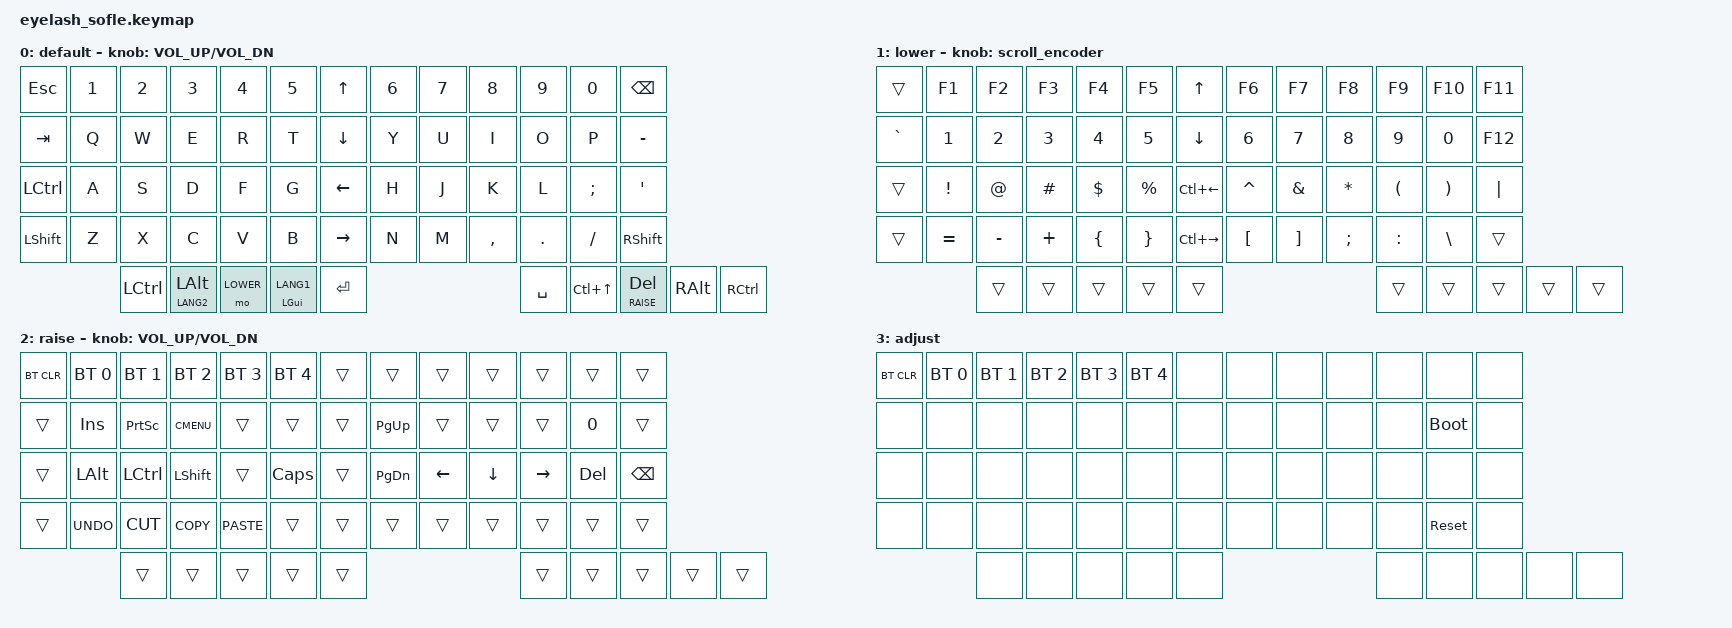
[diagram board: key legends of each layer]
/*
 * Copyright (c) 2020 The ZMK Contributors
 *
 * SPDX-License-Identifier: MIT
 */

#include <behaviors.dtsi>
#include <dt-bindings/zmk/keys.h>
#include <dt-bindings/zmk/bt.h>
#include <dt-bindings/zmk/rgb.h>
#include <dt-bindings/zmk/ext_power.h>
#include <dt-bindings/zmk/mouse.h>

#define BASE 0
#define LOWER 1
#define RAISE 2
#define ADJUST 3

/ {

    scroll_encoder: scroll_encoder {
        compatible = "zmk,behavior-sensor-rotate";
        #sensor-binding-cells = <0>;
        bindings = <&msc SCRL_DOWN>, <&msc SCRL_UP>;
        tap-ms = <30>;
    };

   // Activate ADJUST layer by pressing raise and lower
    conditional_layers {
        compatible = "zmk,conditional-layers";
        adjust_layer {
            if-layers = <LOWER RAISE>;
            then-layer = <ADJUST>;
        };
    };

    keymap {
        compatible = "zmk,keymap";

        default_layer {
            display-name = "default";
// ------------------------------------------------------------------------------------------------------------------
// |  ESC  |  1  |  2  |  3   |  4   |  5   | UP   |                |      |  6   |  7    |  8    |  9   |   0   | BKSPC |
// |  TAB  |  Q  |  W  |  E   |  R   |  T   | DOWN |                |      |  Y   |  U    |  I    |  O   |   P   | BSLH  |
// | LCTRL |  A  |  S  |  D   |  F   |  G   | LEFT |                |      |  H   |  J    |  K    |  L   |   ;   |   '   |
// | SHIFT |  Z  |  X  |  C   |  V   |  B   | RIGHT|                |      |  N   |  M    |  ,    |  .   |   /   | SHIFT |
//               | CTRL| ALT  | MO(1)| GUI/LANG1 | SPACE |         | ENTER | STICK:CTRL+UP | DEL/MO(2) | ALT | CTRL |
            bindings = <
&kp ESC   &kp N1 &kp N2 &kp N3 &kp N4 &kp N5      &kp UP    &kp N6 &kp N7 &kp N8    &kp N9   &kp N0   &kp BSPC
&kp TAB   &kp Q  &kp W  &kp E  &kp R  &kp T       &kp DOWN  &kp Y  &kp U  &kp I     &kp O    &kp P    &kp MINUS
&kp LCTRL &kp A  &kp S  &kp D  &kp F  &kp G       &kp LEFT  &kp H  &kp J  &kp K     &kp L    &kp SEMI &kp SQT
&kp LSHFT &kp Z  &kp X  &kp C  &kp V  &kp B       &kp RIGHT &kp N  &kp M  &kp COMMA &kp DOT  &kp FSLH &kp RSHFT
                 &kp LCTRL &mt LANG2 LALT &mo LOWER &mt LGUI LANG1 &kp RET    &kp SPACE &kp LC(UP) &lt RAISE DEL &kp RALT &kp RCTRL
            >;

            sensor-bindings = <&inc_dec_kp C_VOL_UP C_VOL_DN>;
        };

        lower_layer {
            display-name = "lower";
// ------------------------------------------------------------------------------------------------------------------
// |       |  F1 |  F2 |  F3  |  F4  |  F5  | UP   |                |      |  F6  |  F7   |  F8   |  F9  |  F10  |  F11  |
// |   `   |  1  |  2  |  3   |  4   |  5   | DOWN |                |      |  6   |  7    |  8    |  9   |   0   |  F12  |
// |       |  !  |  @  |  #   |  $   |  %   |C+LEFT|                |      |  ^   |  &    |  *    |  (   |   )   |   |   |
// |       |  =  |  -  |  +   |  {   |  }   |C+RGHT|                |      |  [   |  ]    |  ;    |  :   |   \   |       |
//               |     |      |      |      |        |              |      |      |       |       |      |
            bindings = <
&trans    &kp F1    &kp F2    &kp F3   &kp F4   &kp F5      &kp UP     &kp F6    &kp F7   &kp F8    &kp F9    &kp F10   &kp F11
&kp GRAVE &kp N1    &kp N2    &kp N3   &kp N4   &kp N5      &kp DOWN   &kp N6    &kp N7   &kp N8    &kp N9    &kp N0    &kp F12
&trans    &kp EXCL  &kp AT    &kp HASH &kp DLLR &kp PRCNT   &kp LC(LEFT)  &kp CARET &kp AMPS &kp ASTRK &kp LPAR  &kp RPAR  &kp PIPE
&trans    &kp EQUAL &kp MINUS &kp PLUS &kp LBRC &kp RBRC    &kp LC(RIGHT)  &kp LBKT  &kp RBKT &kp SEMI  &kp COLON &kp BSLH  &trans
                    &trans    &trans      &trans    &trans     &trans    &trans    &trans   &trans    &trans    &trans
            >;

            sensor-bindings = <&scroll_encoder>;
        };

        raise_layer {
            display-name = "raise";
// ------------------------------------------------------------------------------------------------------------------
// | BTCLR | BT1  | BT2  |  BT3  |  BT4  |  BT5 |      |                |      |      |      |       |      |       |       |
// |       | INS  | PSCR | GUI   |       |      |      |                |      | PGUP |      |   ^   |      |       |       |
// |       | ALT  | CTRL | SHIFT |       | CAPS |      |                |      | LEFT |  DOWN|  RIGHT|  DEL |  BKSPC|
// |       | UNDO | CUT  | COPY  | PASTE |      |      |                |      |      |      |       |      |       |       |
//                |      |       |       |      |      |                |      |      |      |       |      |
            bindings = <
&bt BT_CLR &bt BT_SEL 0 &bt BT_SEL 1 &bt BT_SEL 2 &bt BT_SEL 3 &bt BT_SEL 4    &trans   &trans    &trans   &trans     &trans   &trans    &trans
&trans     &kp INS      &kp PSCRN    &kp K_CMENU  &trans       &trans         &trans   &kp PG_UP &trans   &trans     &trans   &kp N0    &trans
&trans     &kp LALT     &kp LCTRL    &kp LSHFT    &trans       &kp CLCK       &trans   &kp PG_DN &kp LEFT &kp DOWN   &kp RIGHT &kp DEL  &kp BSPC
&trans     &kp K_UNDO   &kp K_CUT    &kp K_COPY   &kp K_PASTE  &trans         &trans   &trans    &trans   &trans     &trans   &trans    &trans
                        &trans       &trans       &trans       &trans         &trans   &trans    &trans   &trans     &trans   &trans
            >;

            sensor-bindings = <&inc_dec_kp C_VOL_UP C_VOL_DN>;
        };

        adjust_layer {
            display-name = "adjust";
// ----------------------------------------------------------------------------------------------------------------------------
// | BTCLR  |  BT1    |  BT2    |   BT3   |   BT4   |   BT5   |      |                |      |      |       |      |       |       |
// |        |         |         |         |         |         |      |                |      |      |       |      | BOOTLD|       |
// |        |         |         |         |         |         |      |                |      |      |       |      |       |       |
// |        |         |         |         |         |         |      |                |      |      |       |      |RESET  |       |
//                    |         |         |         |         |      |                |      |      |       |      |
            bindings = <
&bt BT_CLR &bt BT_SEL 0 &bt BT_SEL 1 &bt BT_SEL 2 &bt BT_SEL 3 &bt BT_SEL 4     &none  &none &none &none &none &none       &none
&none      &none        &none        &none        &none        &none          &none  &none &none &none &none &bootloader &none
&none      &none        &none        &none        &none        &none          &none  &none &none &none &none &none       &none
&none      &none        &none        &none        &none        &none          &none  &none &none &none &none &sys_reset  &none
                        &none        &none        &none        &none          &none  &none &none &none &none &none
            >;
        };

    };
};
